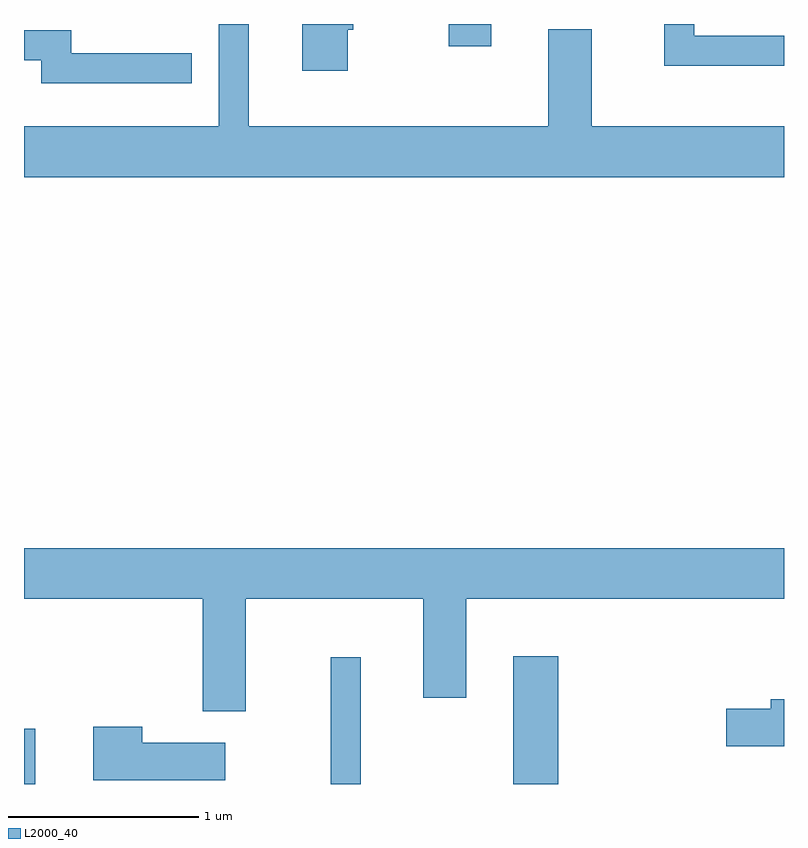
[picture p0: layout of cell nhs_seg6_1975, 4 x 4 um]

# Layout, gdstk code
import gdstk
lib = gdstk.Library(unit=1e-6, precision=1e-09)
def R(c, l, rs):  # rectangles x0, y0, x1, y1
    for r in rs: c.add(gdstk.rectangle(r[:2], r[2:], *l))
def P(c, l, *ps):  # polygons
    for p in ps: c.add(gdstk.Polygon(p, *l))
L2000_40 = (2000, 40)

nhs_seg6_1975 = lib.new_cell('nhs_seg6_1975')
R(nhs_seg6_1975, L2000_40, [(245.611,1560.162,245.669,1560.454), (247.226,1560.162,247.384,1560.828), (248.186,1560.162,248.424,1560.834), (247.846,1564.046,248.069,1564.162)])
P(nhs_seg6_1975, L2000_40, [(249.611,1563.624),(248.599,1563.624),(248.599,1564.134),(248.371,1564.134),(248.371,1563.624),(246.794,1563.624),(246.794,1564.162),(246.636,1564.162),(246.636,1563.624),(245.611,1563.624),(245.611,1563.356),(249.611,1563.356)],
  [(249.611,1564.099),(249.139,1564.099),(249.139,1564.162),(248.981,1564.162),(248.981,1563.941),(249.611,1563.941)],
  [(247.314,1564.131),(247.344,1564.131),(247.344,1564.162),(247.076,1564.162),(247.076,1563.916),(247.314,1563.916)],
  [(246.493,1564.009),(245.859,1564.009),(245.859,1564.129),(245.611,1564.129),(245.611,1563.971),(245.701,1563.971),(245.701,1563.851),(246.493,1563.851)],
  [(246.779,1561.136),(247.711,1561.136),(247.711,1560.616),(247.939,1560.616),(247.939,1561.136),(249.611,1561.136),(249.611,1561.404),(245.611,1561.404),(245.611,1561.136),(246.551,1561.136),(246.551,1560.546),(246.779,1560.546)],
  [(249.611,1560.609),(249.541,1560.609),(249.541,1560.559),(249.306,1560.559),(249.306,1560.361),(249.611,1560.361)],
  [(246.669,1560.379),(246.234,1560.379),(246.234,1560.464),(245.976,1560.464),(245.976,1560.181),(246.669,1560.181)])

lib.write_gds('nhs_seg6_1975.gds')
